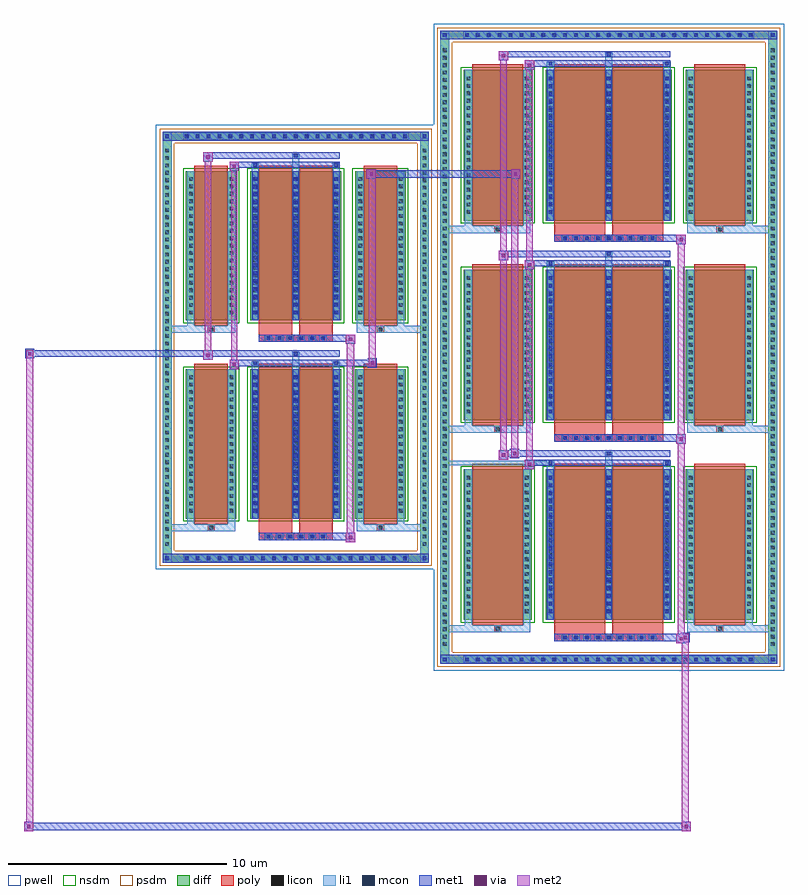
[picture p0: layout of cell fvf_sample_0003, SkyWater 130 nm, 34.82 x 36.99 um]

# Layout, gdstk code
import gdstk
lib = gdstk.Library(unit=1e-6, precision=1e-09)
def R(c, l, rs):  # rectangles x0, y0, x1, y1
    for r in rs: c.add(gdstk.rectangle(r[:2], r[2:], *l))
def A(c, l, x, y, w, h, nx, ny, dx, dy):  # array of equal rectangles
    R(c, l, [(x+i*dx, y+j*dy, x+i*dx+w, y+j*dy+h) for i in range(nx) for j in range(ny)])
def P(c, l, *ps):  # polygons
    for p in ps: c.add(gdstk.Polygon(p, *l))
pwell = (64, 44)
diff = (65, 20)
poly = (66, 20)
licon = (66, 44)
li1 = (67, 20)
mcon = (67, 44)
met1 = (68, 20)
via = (68, 44)
met2 = (69, 20)
nsdm = (93, 44)
psdm = (94, 20)

fvf_sample_0003 = lib.new_cell('fvf_sample_0003')
R(fvf_sample_0003, pwell, [(6.311,-14.816,22.365,14.816), (-6.411,-10.183,6.411,10.183)])
A(fvf_sample_0003, diff, 7.633, -14.506, 0.41, 0.41, 27, 2, 0.5, 28.602)
A(fvf_sample_0003, diff, 6.621, -13.805, 0.41, 0.41, 1, 81, 0, 0.34)
A(fvf_sample_0003, diff, 21.645, -13.805, 0.41, 0.41, 1, 81, 0, 0.34)
A(fvf_sample_0003, diff, 7.691, -12.485, 3.116, 6.898, 1, 3, 0, 9.144)
A(fvf_sample_0003, diff, 11.447, -12.485, 5.782, 6.898, 1, 3, 0, 9.144)
A(fvf_sample_0003, diff, 17.869, -12.485, 3.116, 6.898, 1, 3, 0, 9.144)
A(fvf_sample_0003, diff, -5.205, -9.873, 0.41, 0.41, 21, 2, 0.5, 19.336)
A(fvf_sample_0003, diff, -6.101, -9.215, 0.41, 0.41, 1, 54, 0, 0.34)
A(fvf_sample_0003, diff, 5.691, -9.215, 0.41, 0.41, 1, 54, 0, 0.34)
R(fvf_sample_0003, diff, [(7.633,-14.506,21.043,-14.096), (6.621,-13.805,7.031,13.805), (21.645,-13.805,22.055,13.805), (-5.205,-9.873,5.205,-9.463), (-6.101,-9.215,-5.691,9.215), (5.691,-9.215,6.101,9.215), (-5.031,-7.852,-2.723,-1.016), (-2.083,-7.852,2.083,-1.016), (2.723,-7.852,5.031,-1.016), (-5.031,1.232,-2.723,8.068), (-2.083,1.232,2.083,8.068), (2.723,1.232,5.031,8.068), (-5.205,9.463,5.205,9.873), (7.633,14.096,21.043,14.506)])
P(fvf_sample_0003, diff, [(6.101,9.873),(-6.101,9.873),(-6.101,-9.463),(-5.691,-9.463),(-5.691,9.463),(5.691,9.463),(5.691,-9.463),(-5.691,-9.463),(-6.101,-9.463),(-6.101,-9.873),(6.101,-9.873)],
  [(22.055,14.506),(6.621,14.506),(6.621,-14.096),(7.031,-14.096),(7.031,14.096),(21.645,14.096),(21.645,-14.096),(7.031,-14.096),(6.621,-14.096),(6.621,-14.506),(22.055,-14.506)])
A(fvf_sample_0003, poly, 11.837, -13.466, 5.002, 0.33, 1, 3, 0, 9.144)
A(fvf_sample_0003, poly, 12.173, -13.466, 0.33, 0.33, 9, 3, 0.5, 9.144)
A(fvf_sample_0003, poly, 11.837, -13.136, 2.336, 0.401, 1, 3, 0, 9.144)
A(fvf_sample_0003, poly, 14.503, -13.136, 2.336, 0.401, 1, 3, 0, 9.144)
A(fvf_sample_0003, poly, 8.081, -12.735, 2.336, 7.398, 1, 3, 0, 9.144)
A(fvf_sample_0003, poly, 11.837, -12.735, 2.336, 7.398, 1, 3, 0, 9.144)
A(fvf_sample_0003, poly, 14.503, -12.735, 2.336, 7.398, 1, 3, 0, 9.144)
A(fvf_sample_0003, poly, 18.259, -12.735, 2.336, 7.398, 1, 3, 0, 9.144)
A(fvf_sample_0003, poly, -1.415, -8.834, 0.33, 0.33, 6, 2, 0.5, 9.084)
R(fvf_sample_0003, poly, [(9.084,-13.065,9.414,-12.735), (9.084,-13.065,9.414,-12.735), (19.262,-13.065,19.592,-12.735), (19.262,-13.065,19.592,-12.735), (-1.693,-8.834,1.693,-8.504), (-1.693,-8.504,-0.165,-8.102), (0.165,-8.504,1.693,-8.102), (-4.042,-8.432,-3.712,-8.102), (-4.042,-8.432,-3.712,-8.102), (3.712,-8.432,4.042,-8.102), (3.712,-8.432,4.042,-8.102), (-4.641,-8.102,-3.113,-0.766), (-1.693,-8.102,-0.165,-0.766), (0.165,-8.102,1.693,-0.766), (3.113,-8.102,4.641,-0.766), (9.084,-3.921,9.414,-3.591), (9.084,-3.921,9.414,-3.591), (19.262,-3.921,19.592,-3.591), (19.262,-3.921,19.592,-3.591), (-1.693,0.25,1.693,0.58), (-1.693,0.58,-0.165,0.982), (0.165,0.58,1.693,0.982), (-4.042,0.652,-3.712,0.982), (-4.042,0.652,-3.712,0.982), (3.712,0.652,4.042,0.982), (3.712,0.652,4.042,0.982), (-4.641,0.982,-3.113,8.318), (-1.693,0.982,-0.165,8.318), (0.165,0.982,1.693,8.318), (3.113,0.982,4.641,8.318), (9.084,5.223,9.414,5.553), (9.084,5.223,9.414,5.553), (19.262,5.223,19.592,5.553), (19.262,5.223,19.592,5.553)])
A(fvf_sample_0003, licon, 7.753, -14.386, 0.17, 0.17, 27, 2, 0.5, 28.602)
A(fvf_sample_0003, licon, 6.741, -13.685, 0.17, 0.17, 1, 81, 0, 0.34)
A(fvf_sample_0003, licon, 21.765, -13.685, 0.17, 0.17, 1, 81, 0, 0.34)
A(fvf_sample_0003, licon, 12.253, -13.386, 0.17, 0.17, 9, 3, 0.5, 9.144)
A(fvf_sample_0003, licon, 9.164, -12.985, 0.17, 0.17, 1, 3, 0, 9.144)
A(fvf_sample_0003, licon, 19.342, -12.985, 0.17, 0.17, 1, 3, 0, 9.144)
A(fvf_sample_0003, licon, 7.831, -12.181, 0.17, 0.17, 1, 19, 0, 0.34)
A(fvf_sample_0003, licon, 10.497, -12.181, 0.17, 0.17, 1, 19, 0, 0.34)
A(fvf_sample_0003, licon, 11.587, -12.181, 0.17, 0.17, 3, 19, 2.666, 0.34)
A(fvf_sample_0003, licon, 18.009, -12.181, 0.17, 0.17, 1, 19, 0, 0.34)
A(fvf_sample_0003, licon, 20.675, -12.181, 0.17, 0.17, 1, 19, 0, 0.34)
A(fvf_sample_0003, licon, -5.085, -9.753, 0.17, 0.17, 21, 2, 0.5, 19.336)
A(fvf_sample_0003, licon, -5.981, -9.095, 0.17, 0.17, 1, 54, 0, 0.34)
A(fvf_sample_0003, licon, 5.811, -9.095, 0.17, 0.17, 1, 54, 0, 0.34)
A(fvf_sample_0003, licon, -1.335, -8.754, 0.17, 0.17, 6, 2, 0.5, 9.084)
A(fvf_sample_0003, licon, -4.891, -7.579, 0.17, 0.17, 1, 19, 0, 0.34)
A(fvf_sample_0003, licon, -3.033, -7.579, 0.17, 0.17, 1, 19, 0, 0.34)
A(fvf_sample_0003, licon, -1.943, -7.579, 0.17, 0.17, 3, 19, 1.858, 0.34)
A(fvf_sample_0003, licon, 2.863, -7.579, 0.17, 0.17, 1, 19, 0, 0.34)
A(fvf_sample_0003, licon, 4.721, -7.579, 0.17, 0.17, 1, 19, 0, 0.34)
A(fvf_sample_0003, licon, 7.831, -3.037, 0.17, 0.17, 1, 19, 0, 0.34)
A(fvf_sample_0003, licon, 10.497, -3.037, 0.17, 0.17, 1, 19, 0, 0.34)
A(fvf_sample_0003, licon, 11.587, -3.037, 0.17, 0.17, 3, 19, 2.666, 0.34)
A(fvf_sample_0003, licon, 18.009, -3.037, 0.17, 0.17, 1, 19, 0, 0.34)
A(fvf_sample_0003, licon, 20.675, -3.037, 0.17, 0.17, 1, 19, 0, 0.34)
A(fvf_sample_0003, licon, -4.891, 1.505, 0.17, 0.17, 1, 19, 0, 0.34)
A(fvf_sample_0003, licon, -3.033, 1.505, 0.17, 0.17, 1, 19, 0, 0.34)
A(fvf_sample_0003, licon, -1.943, 1.505, 0.17, 0.17, 3, 19, 1.858, 0.34)
A(fvf_sample_0003, licon, 2.863, 1.505, 0.17, 0.17, 1, 19, 0, 0.34)
A(fvf_sample_0003, licon, 4.721, 1.505, 0.17, 0.17, 1, 19, 0, 0.34)
A(fvf_sample_0003, licon, 7.831, 6.107, 0.17, 0.17, 1, 19, 0, 0.34)
A(fvf_sample_0003, licon, 10.497, 6.107, 0.17, 0.17, 1, 19, 0, 0.34)
A(fvf_sample_0003, licon, 11.587, 6.107, 0.17, 0.17, 3, 19, 2.666, 0.34)
A(fvf_sample_0003, licon, 18.009, 6.107, 0.17, 0.17, 1, 19, 0, 0.34)
A(fvf_sample_0003, licon, 20.675, 6.107, 0.17, 0.17, 1, 19, 0, 0.34)
R(fvf_sample_0003, licon, [(-3.962,-8.352,-3.792,-8.182), (3.792,-8.352,3.962,-8.182), (-3.962,0.732,-3.792,0.902), (3.792,0.732,3.962,0.902)])
A(fvf_sample_0003, li1, 7.673, -14.466, 0.33, 0.33, 27, 2, 0.5, 28.602)
A(fvf_sample_0003, li1, 6.661, -13.765, 0.33, 0.33, 1, 81, 0, 0.34)
A(fvf_sample_0003, li1, 21.685, -13.765, 0.33, 0.33, 1, 81, 0, 0.34)
A(fvf_sample_0003, li1, 12.173, -13.466, 0.33, 0.33, 9, 3, 0.5, 9.144)
A(fvf_sample_0003, li1, 6.621, -13.065, 2.463, 0.33, 1, 3, 0, 9.144)
A(fvf_sample_0003, li1, 7.751, -13.065, 0.33, 0.58, 1, 3, 0, 9.144)
A(fvf_sample_0003, li1, 7.751, -13.065, 1.333, 0.33, 1, 3, 0, 9.144)
A(fvf_sample_0003, li1, 9.084, -13.065, 0.33, 0.33, 1, 3, 0, 9.144)
A(fvf_sample_0003, li1, 9.414, -13.065, 1.333, 0.33, 1, 3, 0, 9.144)
A(fvf_sample_0003, li1, 10.417, -13.065, 0.33, 0.58, 1, 3, 0, 9.144)
A(fvf_sample_0003, li1, 17.929, -13.065, 0.33, 0.58, 1, 3, 0, 9.144)
A(fvf_sample_0003, li1, 17.929, -13.065, 1.333, 0.33, 1, 3, 0, 9.144)
A(fvf_sample_0003, li1, 19.262, -13.065, 0.33, 0.33, 1, 3, 0, 9.144)
A(fvf_sample_0003, li1, 19.262, -13.065, 2.793, 0.33, 1, 3, 0, 9.144)
A(fvf_sample_0003, li1, 19.592, -13.065, 1.333, 0.33, 1, 3, 0, 9.144)
A(fvf_sample_0003, li1, 20.595, -13.065, 0.33, 0.58, 1, 3, 0, 9.144)
A(fvf_sample_0003, li1, 7.751, -12.485, 0.33, 6.898, 1, 3, 0, 9.144)
A(fvf_sample_0003, li1, 10.417, -12.485, 0.33, 6.898, 1, 3, 0, 9.144)
A(fvf_sample_0003, li1, 11.507, -12.485, 0.33, 6.898, 3, 3, 2.666, 9.144)
A(fvf_sample_0003, li1, 17.929, -12.485, 0.33, 6.898, 1, 3, 0, 9.144)
A(fvf_sample_0003, li1, 20.595, -12.485, 0.33, 6.898, 1, 3, 0, 9.144)
A(fvf_sample_0003, li1, 7.751, -12.261, 0.33, 0.33, 1, 19, 0, 0.34)
A(fvf_sample_0003, li1, 10.417, -12.261, 0.33, 0.33, 1, 19, 0, 0.34)
A(fvf_sample_0003, li1, 11.507, -12.261, 0.33, 0.33, 3, 19, 2.666, 0.34)
A(fvf_sample_0003, li1, 17.929, -12.261, 0.33, 0.33, 1, 19, 0, 0.34)
A(fvf_sample_0003, li1, 20.595, -12.261, 0.33, 0.33, 1, 19, 0, 0.34)
A(fvf_sample_0003, li1, 11.587, -12.181, 0.17, 0.17, 3, 18, 2.666, 0.36)
A(fvf_sample_0003, li1, 11.587, -12.181, 0.17, 6.29, 3, 3, 2.666, 9.144)
A(fvf_sample_0003, li1, -5.165, -9.833, 0.33, 0.33, 21, 2, 0.5, 19.336)
A(fvf_sample_0003, li1, -6.061, -9.175, 0.33, 0.33, 1, 54, 0, 0.34)
A(fvf_sample_0003, li1, 5.731, -9.175, 0.33, 0.33, 1, 54, 0, 0.34)
A(fvf_sample_0003, li1, -1.415, -8.834, 0.33, 0.33, 6, 2, 0.5, 9.084)
A(fvf_sample_0003, li1, -2.023, -7.852, 0.33, 6.836, 3, 2, 1.858, 9.084)
A(fvf_sample_0003, li1, -4.971, -7.659, 0.33, 0.33, 1, 19, 0, 0.34)
A(fvf_sample_0003, li1, -3.113, -7.659, 0.33, 0.33, 1, 19, 0, 0.34)
A(fvf_sample_0003, li1, -2.023, -7.659, 0.33, 0.33, 3, 19, 1.858, 0.34)
A(fvf_sample_0003, li1, 2.783, -7.659, 0.33, 0.33, 1, 19, 0, 0.34)
A(fvf_sample_0003, li1, 4.641, -7.659, 0.33, 0.33, 1, 19, 0, 0.34)
A(fvf_sample_0003, li1, -1.943, -7.579, 0.17, 0.17, 3, 18, 1.858, 0.36)
A(fvf_sample_0003, li1, -1.943, -7.579, 0.17, 6.29, 3, 2, 1.858, 9.084)
A(fvf_sample_0003, li1, 11.507, -5.587, 0.33, 0.375, 1, 3, 0, 9.144)
A(fvf_sample_0003, li1, 14.173, -5.587, 0.33, 0.805, 1, 3, 0, 9.144)
A(fvf_sample_0003, li1, 16.839, -5.587, 0.33, 0.375, 1, 3, 0, 9.144)
A(fvf_sample_0003, li1, 11.587, -5.382, 0.17, 0.17, 1, 3, 0, 9.144)
A(fvf_sample_0003, li1, 16.919, -5.382, 0.17, 0.17, 1, 3, 0, 9.144)
A(fvf_sample_0003, li1, 14.253, -4.952, 0.17, 0.17, 1, 3, 0, 9.144)
A(fvf_sample_0003, li1, 7.751, -3.117, 0.33, 0.33, 1, 19, 0, 0.34)
A(fvf_sample_0003, li1, 10.417, -3.117, 0.33, 0.33, 1, 19, 0, 0.34)
A(fvf_sample_0003, li1, 11.507, -3.117, 0.33, 0.33, 3, 19, 2.666, 0.34)
A(fvf_sample_0003, li1, 17.929, -3.117, 0.33, 0.33, 1, 19, 0, 0.34)
A(fvf_sample_0003, li1, 20.595, -3.117, 0.33, 0.33, 1, 19, 0, 0.34)
A(fvf_sample_0003, li1, 11.587, -3.037, 0.17, 0.17, 3, 18, 2.666, 0.36)
A(fvf_sample_0003, li1, -4.971, 1.425, 0.33, 0.33, 1, 19, 0, 0.34)
A(fvf_sample_0003, li1, -3.113, 1.425, 0.33, 0.33, 1, 19, 0, 0.34)
A(fvf_sample_0003, li1, -2.023, 1.425, 0.33, 0.33, 3, 19, 1.858, 0.34)
A(fvf_sample_0003, li1, 2.783, 1.425, 0.33, 0.33, 1, 19, 0, 0.34)
A(fvf_sample_0003, li1, 4.641, 1.425, 0.33, 0.33, 1, 19, 0, 0.34)
A(fvf_sample_0003, li1, -1.943, 1.505, 0.17, 0.17, 3, 18, 1.858, 0.36)
A(fvf_sample_0003, li1, 7.751, 6.027, 0.33, 0.33, 1, 19, 0, 0.34)
A(fvf_sample_0003, li1, 10.417, 6.027, 0.33, 0.33, 1, 19, 0, 0.34)
A(fvf_sample_0003, li1, 11.507, 6.027, 0.33, 0.33, 3, 19, 2.666, 0.34)
A(fvf_sample_0003, li1, 17.929, 6.027, 0.33, 0.33, 1, 19, 0, 0.34)
A(fvf_sample_0003, li1, 20.595, 6.027, 0.33, 0.33, 1, 19, 0, 0.34)
A(fvf_sample_0003, li1, 11.587, 6.107, 0.17, 0.17, 3, 18, 2.666, 0.36)
R(fvf_sample_0003, li1, [(6.621,-14.506,7.031,-14.096), (21.645,-14.506,22.055,-14.096), (7.673,-14.466,21.003,-14.136), (6.741,-14.386,6.911,-14.216), (6.741,-14.386,6.911,-14.216), (21.765,-14.386,21.935,-14.216), (21.765,-14.386,21.935,-14.216), (6.621,-14.096,7.031,14.096), (21.645,-14.096,22.055,14.096), (-6.101,-9.873,-5.691,-9.463), (5.691,-9.873,6.101,-9.463), (-5.165,-9.833,5.165,-9.503), (-5.981,-9.753,-5.811,-9.583), (-5.981,-9.753,-5.811,-9.583), (5.811,-9.753,5.981,-9.583), (5.811,-9.753,5.981,-9.583), (-6.101,-9.463,-5.691,9.463), (5.691,-9.463,6.101,9.463), (-6.101,-8.432,-4.042,-8.102), (-4.971,-8.432,-4.042,-8.102), (-4.971,-8.432,-4.641,-7.852), (-4.042,-8.432,-3.712,-8.102), (-3.712,-8.432,-2.783,-8.102), (-3.113,-8.432,-2.783,-7.852), (2.783,-8.432,3.712,-8.102), (2.783,-8.432,3.113,-7.852), (3.712,-8.432,4.042,-8.102), (3.712,-8.432,6.101,-8.102), (4.042,-8.432,4.971,-8.102), (4.641,-8.432,4.971,-7.852), (-4.971,-7.852,-4.641,-1.016), (-3.113,-7.852,-2.783,-1.016), (2.783,-7.852,3.113,-1.016), (4.641,-7.852,4.971,-1.016), (11.527,-5.442,11.817,-5.152), (6.621,-5.397,11.527,-5.197), (11.587,-5.382,11.757,-5.212), (-2.023,-1.016,-1.693,-0.641), (-0.165,-1.016,0.165,-0.211), (1.693,-1.016,2.023,-0.641), (-1.943,-0.811,-1.773,-0.641), (1.773,-0.811,1.943,-0.641), (-0.085,-0.381,0.085,-0.211), (-6.101,0.652,-4.042,0.982), (-4.971,0.652,-4.042,0.982), (-4.971,0.652,-4.641,1.232), (-4.042,0.652,-3.712,0.982), (-3.712,0.652,-2.783,0.982), (-3.113,0.652,-2.783,1.232), (2.783,0.652,3.712,0.982), (2.783,0.652,3.113,1.232), (3.712,0.652,4.042,0.982), (3.712,0.652,6.101,0.982), (4.042,0.652,4.971,0.982), (4.641,0.652,4.971,1.232), (-4.971,1.232,-4.641,8.068), (-3.113,1.232,-2.783,8.068), (2.783,1.232,3.113,8.068), (4.641,1.232,4.971,8.068), (-2.023,8.068,-1.693,8.443), (-0.165,8.068,0.165,8.873), (1.693,8.068,2.023,8.443), (-1.943,8.273,-1.773,8.443), (1.773,8.273,1.943,8.443), (-0.085,8.703,0.085,8.873), (-6.101,9.463,-5.691,9.873), (5.691,9.463,6.101,9.873), (-5.165,9.503,5.165,9.833), (-5.981,9.583,-5.811,9.753), (-5.981,9.583,-5.811,9.753), (5.811,9.583,5.981,9.753), (5.811,9.583,5.981,9.753), (6.621,14.096,7.031,14.506), (21.645,14.096,22.055,14.506), (7.673,14.136,21.003,14.466), (6.741,14.216,6.911,14.386), (6.741,14.216,6.911,14.386), (21.765,14.216,21.935,14.386), (21.765,14.216,21.935,14.386)])
A(fvf_sample_0003, mcon, 7.753, -14.386, 0.17, 0.17, 27, 2, 0.5, 28.602)
A(fvf_sample_0003, mcon, 12.253, -13.386, 0.17, 0.17, 9, 3, 0.5, 9.144)
A(fvf_sample_0003, mcon, 11.587, -12.181, 0.17, 0.17, 3, 18, 2.666, 0.36)
A(fvf_sample_0003, mcon, -5.085, -9.753, 0.17, 0.17, 21, 2, 0.5, 19.336)
A(fvf_sample_0003, mcon, -1.335, -8.754, 0.17, 0.17, 6, 2, 0.5, 9.084)
A(fvf_sample_0003, mcon, -1.943, -7.579, 0.17, 0.17, 3, 18, 1.858, 0.36)
A(fvf_sample_0003, mcon, 11.587, -5.382, 0.17, 0.17, 1, 3, 0, 9.144)
A(fvf_sample_0003, mcon, 16.919, -5.382, 0.17, 0.17, 1, 3, 0, 9.144)
A(fvf_sample_0003, mcon, 14.253, -4.952, 0.17, 0.17, 1, 3, 0, 9.144)
A(fvf_sample_0003, mcon, 11.587, -3.037, 0.17, 0.17, 3, 18, 2.666, 0.36)
A(fvf_sample_0003, mcon, -1.943, 1.505, 0.17, 0.17, 3, 18, 1.858, 0.36)
A(fvf_sample_0003, mcon, 11.587, 6.107, 0.17, 0.17, 3, 18, 2.666, 0.36)
R(fvf_sample_0003, mcon, [(6.741,-14.386,6.911,-14.216), (21.765,-14.386,21.935,-14.216), (-5.981,-9.753,-5.811,-9.583), (5.811,-9.753,5.981,-9.583), (11.587,-5.382,11.757,-5.212), (-1.943,-0.811,-1.773,-0.641), (1.773,-0.811,1.943,-0.641), (-0.085,-0.381,0.085,-0.211), (-1.943,8.273,-1.773,8.443), (1.773,8.273,1.943,8.443), (-0.085,8.703,0.085,8.873), (-5.981,9.583,-5.811,9.753), (5.811,9.583,5.981,9.753), (6.741,14.216,6.911,14.386), (21.765,14.216,21.935,14.386)])
A(fvf_sample_0003, met1, 7.693, -14.446, 0.29, 0.29, 27, 2, 0.5, 28.602)
A(fvf_sample_0003, met1, 11.837, -13.466, 5.002, 0.33, 1, 3, 0, 9.144)
A(fvf_sample_0003, met1, 12.193, -13.446, 0.29, 0.29, 9, 3, 0.5, 9.144)
A(fvf_sample_0003, met1, 11.527, -12.485, 0.29, 6.898, 3, 3, 2.666, 9.144)
A(fvf_sample_0003, met1, 11.527, -12.241, 0.29, 0.29, 3, 18, 2.666, 0.36)
A(fvf_sample_0003, met1, -5.145, -9.813, 0.29, 0.29, 21, 2, 0.5, 19.336)
A(fvf_sample_0003, met1, -1.395, -8.814, 0.29, 0.29, 6, 2, 0.5, 9.084)
A(fvf_sample_0003, met1, -2.003, -7.852, 0.29, 6.836, 3, 2, 1.858, 9.084)
A(fvf_sample_0003, met1, -2.003, -7.639, 0.29, 0.29, 3, 18, 1.858, 0.36)
A(fvf_sample_0003, met1, 11.527, -5.442, 0.29, 0.29, 1, 3, 0, 9.144)
A(fvf_sample_0003, met1, 16.859, -5.442, 0.29, 0.29, 1, 3, 0, 9.144)
A(fvf_sample_0003, met1, 14.193, -5.012, 0.29, 0.29, 1, 3, 0, 9.144)
A(fvf_sample_0003, met1, 11.527, -3.097, 0.29, 0.29, 3, 18, 2.666, 0.36)
A(fvf_sample_0003, met1, -2.003, 1.445, 0.29, 0.29, 3, 18, 1.858, 0.36)
A(fvf_sample_0003, met1, 11.527, 6.047, 0.29, 0.29, 3, 18, 2.666, 0.36)
R(fvf_sample_0003, met1, [(-12.451,-22.173,-12.021,-21.743), (17.674,-22.173,18.104,-21.743), (-12.451,-22.123,18.104,-21.793), (-12.451,-21.793,-12.021,-21.743), (17.674,-21.793,18.104,-21.743), (6.621,-14.506,7.031,-14.096), (6.621,-14.506,7.031,-14.096), (7.031,-14.506,21.645,-14.096), (21.645,-14.506,22.055,-14.096), (21.645,-14.506,22.055,-14.096), (6.681,-14.446,6.971,-14.156), (21.705,-14.446,21.995,-14.156), (17.439,-13.566,17.869,-13.136), (17.624,-13.516,18.054,-13.086), (16.839,-13.466,17.869,-13.136), (16.839,-13.466,17.624,-13.136), (-6.101,-9.873,-5.691,-9.463), (-6.101,-9.873,-5.691,-9.463), (-5.691,-9.873,5.691,-9.463), (5.691,-9.873,6.101,-9.463), (5.691,-9.873,6.101,-9.463), (-6.041,-9.813,-5.751,-9.523), (5.751,-9.813,6.041,-9.523), (2.293,-8.934,2.723,-8.504), (-1.693,-8.834,1.693,-8.504), (1.693,-8.834,2.723,-8.504), (10.497,-5.582,10.927,-5.152), (10.497,-5.442,11.527,-5.152), (11.527,-5.442,11.817,-5.152), (11.527,-5.442,17.149,-5.152), (9.297,-5.152,9.727,-4.722), (9.812,-5.082,10.242,-4.652), (9.297,-5.012,11.527,-4.722), (10.242,-5.012,11.527,-4.722), (11.527,-5.012,17.149,-4.722), (17.439,-4.422,17.869,-3.992), (17.439,-4.422,17.869,-3.992), (16.839,-4.322,17.869,-3.992), (16.839,-4.322,17.869,-3.992), (-3.033,-1.011,-2.603,-0.581), (3.288,-0.941,3.718,-0.511), (-3.033,-0.871,-2.003,-0.581), (-2.003,-0.871,-1.713,-0.581), (-2.003,-0.871,2.003,-0.581), (1.713,-0.871,2.003,-0.581), (2.003,-0.871,3.288,-0.581), (-4.233,-0.581,-3.803,-0.151), (-12.401,-0.511,-11.971,-0.081), (-11.971,-0.441,-2.003,-0.151), (-4.233,-0.441,-2.003,-0.151), (-2.003,-0.441,2.003,-0.151), (-0.145,-0.441,0.145,-0.151), (2.293,0.15,2.723,0.58), (-1.693,0.25,1.693,0.58), (1.693,0.25,2.723,0.58), (10.497,3.562,10.927,3.992), (10.497,3.562,10.927,3.992), (10.497,3.702,11.527,3.992), (10.497,3.702,11.527,3.992), (11.527,3.702,17.149,3.992), (9.297,3.992,9.727,4.422), (9.297,3.992,9.727,4.422), (9.297,4.132,11.527,4.422), (9.297,4.132,11.527,4.422), (11.527,4.132,17.149,4.422), (17.439,4.722,17.869,5.152), (16.839,4.822,17.869,5.152), (3.238,7.716,3.668,8.146), (9.862,7.716,10.292,8.146), (3.238,7.766,10.292,8.096), (-3.033,8.073,-2.603,8.503), (3.238,8.096,3.668,8.146), (9.862,8.096,10.292,8.146), (-3.033,8.213,-2.003,8.503), (-2.003,8.213,-1.713,8.503), (-2.003,8.213,2.003,8.503), (1.713,8.213,2.003,8.503), (-4.233,8.503,-3.803,8.933), (-4.233,8.643,-2.003,8.933), (-2.003,8.643,2.003,8.933), (-0.145,8.643,0.145,8.933), (-6.101,9.463,-5.691,9.873), (-6.101,9.463,-5.691,9.873), (-5.691,9.463,5.691,9.873), (5.691,9.463,6.101,9.873), (5.691,9.463,6.101,9.873), (-6.041,9.523,-5.751,9.813), (5.751,9.523,6.041,9.813), (10.497,12.706,10.927,13.136), (10.497,12.846,11.527,13.136), (11.527,12.846,17.149,13.136), (9.297,13.136,9.727,13.566), (9.297,13.276,11.527,13.566), (11.527,13.276,17.149,13.566), (6.621,14.096,7.031,14.506), (6.621,14.096,7.031,14.506), (7.031,14.096,21.645,14.506), (21.645,14.096,22.055,14.506), (21.645,14.096,22.055,14.506), (6.681,14.156,6.971,14.446), (21.705,14.156,21.995,14.446)])
R(fvf_sample_0003, via, [(-12.311,-22.033,-12.161,-21.883), (17.814,-22.033,17.964,-21.883), (17.579,-13.426,17.729,-13.276), (17.764,-13.376,17.914,-13.226), (2.433,-8.794,2.583,-8.644), (10.637,-5.442,10.787,-5.292), (9.437,-5.012,9.587,-4.862), (9.952,-4.942,10.102,-4.792), (17.579,-4.282,17.729,-4.132), (17.579,-4.282,17.729,-4.132), (-2.893,-0.871,-2.743,-0.721), (3.428,-0.801,3.578,-0.651), (-4.093,-0.441,-3.943,-0.291), (-12.261,-0.371,-12.111,-0.221), (2.433,0.29,2.583,0.44), (10.637,3.702,10.787,3.852), (10.637,3.702,10.787,3.852), (9.437,4.132,9.587,4.282), (9.437,4.132,9.587,4.282), (17.579,4.862,17.729,5.012), (3.378,7.856,3.528,8.006), (10.002,7.856,10.152,8.006), (-2.893,8.213,-2.743,8.363), (-4.093,8.643,-3.943,8.793), (10.637,12.846,10.787,12.996), (9.437,13.276,9.587,13.426)])
R(fvf_sample_0003, met2, [(-12.451,-22.173,-12.021,-21.743), (-12.351,-22.173,-12.021,-0.461), (17.674,-22.173,18.104,-21.743), (17.674,-22.173,18.004,-13.466), (-12.401,-22.123,-12.071,-21.793), (17.724,-22.123,18.054,-21.793), (17.439,-13.566,17.869,-13.136), (17.489,-13.566,17.819,-3.992), (17.819,-13.566,17.869,-13.136), (17.489,-13.516,17.819,-13.186), (17.674,-13.466,18.004,-13.136), (2.293,-8.934,2.723,-8.504), (2.343,-8.934,2.673,0.58), (2.673,-8.934,2.723,-8.504), (2.343,-8.884,2.673,-8.554), (10.497,-5.582,10.927,-5.152), (10.567,-5.582,10.857,3.992), (10.857,-5.582,10.927,-5.152), (10.547,-5.532,10.877,-5.202), (9.297,-5.152,9.727,-4.722), (9.367,-5.152,9.657,4.422), (9.657,-5.152,9.727,-4.722), (9.347,-5.102,9.677,-4.772), (9.862,-5.032,10.192,-4.702), (9.862,-4.702,10.192,8.146), (17.439,-4.422,17.869,-3.992), (17.439,-4.422,17.869,-3.992), (17.489,-4.422,17.819,5.152), (17.819,-4.422,17.869,-3.992), (17.819,-4.422,17.869,-3.992), (17.489,-4.372,17.819,-4.042), (17.489,-4.372,17.819,-4.042), (-3.033,-1.011,-2.603,-0.581), (-2.963,-1.011,-2.673,8.503), (-2.673,-1.011,-2.603,-0.581), (-2.983,-0.961,-2.653,-0.631), (3.338,-0.891,3.668,-0.561), (-4.233,-0.581,-3.803,-0.151), (-4.163,-0.581,-3.873,8.933), (-3.873,-0.581,-3.803,-0.151), (3.338,-0.561,3.668,8.146), (-4.183,-0.531,-3.853,-0.201), (-12.351,-0.461,-12.021,-0.131), (2.293,0.15,2.723,0.58), (2.673,0.15,2.723,0.58), (2.343,0.2,2.673,0.53), (10.497,3.562,10.927,3.992), (10.497,3.562,10.927,3.992), (10.567,3.562,10.857,13.136), (10.857,3.562,10.927,3.992), (10.857,3.562,10.927,3.992), (10.547,3.612,10.877,3.942), (10.547,3.612,10.877,3.942), (9.297,3.992,9.727,4.422), (9.297,3.992,9.727,4.422), (9.367,3.992,9.657,13.566), (9.657,3.992,9.727,4.422), (9.657,3.992,9.727,4.422), (9.347,4.042,9.677,4.372), (9.347,4.042,9.677,4.372), (17.439,4.722,17.869,5.152), (17.819,4.722,17.869,5.152), (17.489,4.772,17.819,5.102), (3.238,7.716,3.668,8.146), (9.862,7.716,10.292,8.146), (3.288,7.766,3.618,8.096), (9.912,7.766,10.242,8.096), (-3.033,8.073,-2.603,8.503), (-2.673,8.073,-2.603,8.503), (-2.983,8.123,-2.653,8.453), (-4.233,8.503,-3.803,8.933), (-3.873,8.503,-3.803,8.933), (-4.183,8.553,-3.853,8.883), (10.497,12.706,10.927,13.136), (10.857,12.706,10.927,13.136), (10.547,12.756,10.877,13.086), (9.297,13.136,9.727,13.566), (9.657,13.136,9.727,13.566), (9.347,13.186,9.677,13.516)])
A(fvf_sample_0003, nsdm, 7.561, -12.615, 3.376, 7.158, 1, 3, 0, 9.144)
A(fvf_sample_0003, nsdm, 11.317, -12.615, 6.042, 7.158, 1, 3, 0, 9.144)
A(fvf_sample_0003, nsdm, 17.739, -12.615, 3.376, 7.158, 1, 3, 0, 9.144)
R(fvf_sample_0003, nsdm, [(-5.161,-7.982,-2.593,-0.886), (-2.213,-7.982,2.213,-0.886), (2.593,-7.982,5.161,-0.886), (-5.161,1.102,-2.593,8.198), (-2.213,1.102,2.213,8.198), (2.593,1.102,5.161,8.198)])
P(fvf_sample_0003, psdm, [(6.231,10.003),(-6.231,10.003),(-6.231,-9.333),(-5.561,-9.333),(-5.561,9.333),(5.561,9.333),(5.561,-9.333),(-5.561,-9.333),(-6.231,-9.333),(-6.231,-10.003),(6.231,-10.003)],
  [(22.185,14.636),(6.491,14.636),(6.491,-13.966),(7.161,-13.966),(7.161,13.966),(21.515,13.966),(21.515,-13.966),(7.161,-13.966),(6.491,-13.966),(6.491,-14.636),(22.185,-14.636)])

lib.write_gds('fvf_sample_0003.gds')
